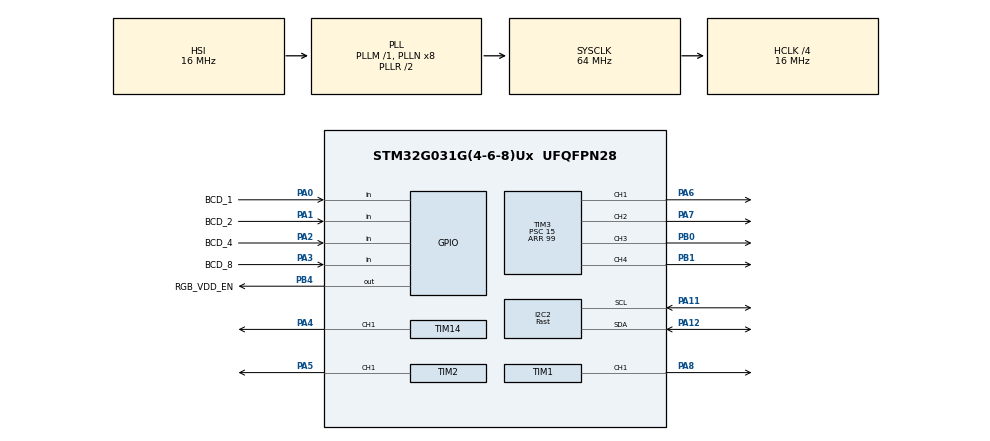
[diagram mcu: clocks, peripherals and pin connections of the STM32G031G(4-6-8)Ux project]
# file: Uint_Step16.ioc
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I2C2.I2C_Speed_Mode=I2C_Fast
I2C2.OwnAddress=0x33<<1
I2C2.Timing=0x00300617
IWDG.Prescaler=IWDG_PRESCALER_16
Mcu.Family=STM32G0
Mcu.Name=STM32G031G(4-6-8)Ux
Mcu.Package=UFQFPN28
NVIC.I2C2_IRQn=true\:0\:0\:false\:false\:true\:true\:true\:true
PA0.GPIO_Label=BCD_1
PA0.GPIO_PuPd=GPIO_PULLUP
PA0.Signal=GPIO_Input
PA1.GPIO_Label=BCD_2
PA1.GPIO_PuPd=GPIO_PULLUP
PA1.Signal=GPIO_Input
PA11\ [PA9].GPIO_Pu=GPIO_PULLUP
PA11\ [PA9].Mode=I2C
PA11\ [PA9].PinState=GPIO_PIN_SET
PA11\ [PA9].Signal=I2C2_SCL
PA12\ [PA10].GPIO_Pu=GPIO_PULLUP
PA12\ [PA10].Mode=I2C
PA12\ [PA10].PinState=GPIO_PIN_SET
PA12\ [PA10].Signal=I2C2_SDA
PA2.GPIO_Label=BCD_4
PA2.GPIO_PuPd=GPIO_PULLUP
PA2.Signal=GPIO_Input
PA3.GPIO_Label=BCD_8
PA3.GPIO_PuPd=GPIO_PULLUP
PA3.Signal=GPIO_Input
PA4.Signal=S_TIM14_CH1
PA5.Signal=S_TIM2_CH1_ETR
PA6.Signal=S_TIM3_CH1
PA7.Signal=S_TIM3_CH2
PA8.Signal=S_TIM1_CH1
PB0.Signal=S_TIM3_CH3
PB1.Signal=S_TIM3_CH4
PB4.GPIO_Label=RGB_VDD_EN
PB4.GPIO_ModeDefaultOutputPP=GPIO_MODE_OUTPUT_PP
PB4.GPIO_PuPd=GPIO_PULLUP
PB4.GPIO_Speed=GPIO_SPEED_FREQ_HIGH
PB4.PinState=GPIO_PIN_SET
PB4.Signal=GPIO_Output
ProjectManager.HeapSize=0x200
ProjectManager.StackSize=0x400
ProjectManager.TargetToolchain=STM32CubeIDE
RCC.ADCFreq_Value=64000000
RCC.AHBCLKDivider=RCC_SYSCLK_DIV4
RCC.AHBFreq_Value=16000000
RCC.CortexFreq_Value=16000000
RCC.EXTERNAL_CLOCK_VALUE=12288000
RCC.HCLKFreq_Value=16000000
RCC.HSE_VALUE=8000000
RCC.HSI_VALUE=16000000
RCC.LSE_VALUE=32768
RCC.PLLQ=RCC_PLLQ_DIV4
RCC.SYSCLKFreq_VALUE=64000000
RCC.SYSCLKSource=RCC_SYSCLKSOURCE_PLLCLK
RCC.VCOOutputFreq_Value=128000000
SH.S_TIM14_CH1.0=TIM14_CH1,PWM Generation1 CH1
SH.S_TIM1_CH1.0=TIM1_CH1,PWM Generation1 CH1
SH.S_TIM2_CH1_ETR.0=TIM2_CH1,PWM Generation1 CH1
SH.S_TIM3_CH1.0=TIM3_CH1,PWM Generation1 CH1
SH.S_TIM3_CH2.0=TIM3_CH2,PWM Generation2 CH2
SH.S_TIM3_CH3.0=TIM3_CH3,PWM Generation3 CH3
SH.S_TIM3_CH4.0=TIM3_CH4,PWM Generation4 CH4
TIM1.Channel-PWM\ Generation1\ CH1=TIM_CHANNEL_1
TIM1.OCPolarity_1=TIM_OCPOLARITY_LOW
TIM1.Period=99
TIM1.Prescaler=15
TIM14.Channel=TIM_CHANNEL_1
TIM14.OCPolarity_1=TIM_OCPOLARITY_LOW
TIM14.Period=99
TIM14.Prescaler=15
TIM2.Channel-PWM\ Generation1\ CH1=TIM_CHANNEL_1
TIM2.OCPolarity_1=TIM_OCPOLARITY_LOW
TIM2.Period=99
TIM2.Prescaler=15
TIM3.Channel-PWM\ Generation1\ CH1=TIM_CHANNEL_1
TIM3.Channel-PWM\ Generation2\ CH2=TIM_CHANNEL_2
TIM3.Channel-PWM\ Generation3\ CH3=TIM_CHANNEL_3
TIM3.Channel-PWM\ Generation4\ CH4=TIM_CHANNEL_4
TIM3.OCPolarity_1=TIM_OCPOLARITY_LOW
TIM3.OCPolarity_2=TIM_OCPOLARITY_LOW
TIM3.OCPolarity_3=TIM_OCPOLARITY_LOW
TIM3.OCPolarity_4=TIM_OCPOLARITY_LOW
TIM3.Period=99
TIM3.Prescaler=15
VP_IWDG_VS_IWDG.Mode=IWDG_Activate
VP_TIM14_VS_ClockSourceINT.Mode=Enable_Timer
VP_TIM1_VS_ClockSourceINT.Mode=Internal
VP_TIM2_VS_ClockSourceINT.Mode=Internal
VP_TIM3_VS_ClockSourceINT.Mode=Internal
board=custom

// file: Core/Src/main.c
/* USER CODE BEGIN Header */
/**
 ******************************************************************************
 * @file           : main.c
 * @brief          : Main program body
 ******************************************************************************
 * @attention
 *
 * Copyright (c) 2024 STMicroelectronics.
 * All rights reserved.
 *
 * This software is licensed under terms that can be found in the LICENSE file
 * in the root directory of this software component.
 * If no LICENSE file comes with this software, it is provided AS-IS.
 *
 ******************************************************************************
 */
/* USER CODE END Header */
#include "main.h"
#include "i2c.h"
#include "iwdg.h"
#include "tim.h"
#include "gpio.h"

/* USER CODE BEGIN Includes */
#include "string.h"
#include "HexStep.h"
#include "i2c_ex.h"
#include "myflash.h"
#include "rgb.h"
/* USER CODE END Includes */

/* USER CODE BEGIN PTD */
#define FIRMWARE_VERSION       (0x01)
#define I2C1_ADDR_BASE         (0x48)
#define APPLICATION_ADDRESS    (0x08001800)  // APP的起始地址
#define RGB_BRIGHTNESS_MAX     (0x64)
#define RGB_BRIGHTNESS_DEFAULT (0x32)
#define STEP16_LED_STATUS_BASE (0xFE)
#define STEP16_LED_LIGHT_BASE  (0x32)
#define STEP16_SWITCH_BASE     (0x01)
#define RGB_STATUS_BASE        (0x01)
#define RGB_BRINHTNESS_MAX     (0x64)
#define RGB_BRIGHTNESS_BASE    (0x32)
#define STEP_SENSITIVITY_BASE  (0x64)

#define STEP16_VALUE_REG_ADDR      (0x00)
#define STEP16_LED_CONFIG_REG_ADDR (0x10)
#define STEP16_LED_LIGHT_REG_ADDR  (0x20)
#define STEP16_SWITCH_REG_ADDR     (0x30)
#define RGB_CONFIGURATON_REG_ADDR  (0x40)
#define RGB_BRIGHTNESS_REG_ADDR    (0x41)
#define RGB_VALUE_REG_ADDR         (0x50)
#define FLASH_WRITE_BACK           (0xF0)
#define IAP_UPDATE_REG_ADDR        (0xFD)
#define FIRMWARE_VERSION_REG_ADDR  (0xFE)
#define I2C_ADDRESS_REG_ADDR       (0xFF)

__IO uint8_t step16_value_reg      = 0;
__IO uint8_t step16_led_config_reg = 0;
__IO uint8_t step16_led_light_reg  = 0;
__IO uint8_t step16_switch_reg     = 0;
__IO uint8_t rgb_status_reg        = 0;
__IO uint8_t rgb_brightness_reg    = 100;
__IO uint8_t rgb_value_reg[3]      = {0};
__IO uint8_t firmware_version_reg  = FIRMWARE_VERSION;
__IO uint8_t i2c_addr_reg          = I2C1_ADDR_BASE;

/* USER CODE END PTD */

/* USER CODE BEGIN PD */
__IO uint32_t i2c_stop_timeout_delay = 0;
__IO uint32_t rgb_turn_off_timeout   = 0;
__IO uint8_t rgb_value_update        = 0;
__IO uint32_t step_led_timeout_delay = 0;
/* USER CODE END PD */

void SystemClock_Config(void);

/* USER CODE BEGIN 0 */
void iap_set()
{
    uint8_t i;
    uint32_t *pVecTab = (uint32_t *)(0x20000000);
    for (i = 0; i < 48; i++) {
        *(pVecTab++) = *(__IO uint32_t *)(APPLICATION_ADDRESS + (i << 2));
    }
    __HAL_RCC_SYSCFG_CLK_ENABLE();
    __HAL_SYSCFG_REMAPMEMORY_SRAM();
}

void step16_init(void)
{
    bool need_write_step16 = false;
    bool need_write_rgb    = false;

    // 读取 step16_led_config_reg
    uint8_t led_status = get_step16_led_status();
    if (led_status == 0xFF) {
        need_write_step16     = true;
        step16_led_config_reg = STEP16_LED_STATUS_BASE;
    } else {
        step16_led_config_reg = led_status;
    }

    // 读取 step16_led_light_reg
    uint8_t led_light = get_step16_led_light();
    if (led_light == 0xFF) {
        need_write_step16    = true;
        step16_led_light_reg = STEP16_LED_LIGHT_BASE;
    } else {
        step16_led_light_reg = led_light;
    }

    // 读取 step16_switch_reg
    uint8_t step_switch = get_step16_switch();
    if (step_switch == 0xFF) {
        need_write_step16 = true;
        step16_switch_reg = STEP16_SWITCH_BASE;
    } else {
        step16_switch_reg = step_switch;
    }

    // 读取 rgb_status_reg
    uint8_t rgb_status = get_rgb_status();
    if (rgb_status == 0xFF) {
        need_write_rgb = true;
        rgb_status_reg = RGB_STATUS_BASE;
    } else {
        rgb_status_reg = rgb_status;
    }

    // 读取 rgb_brightness_reg
    uint8_t rgb_brightness = get_rgb_brightness();
    if (rgb_brightness == 0xFF) {
        need_write_rgb     = true;
        rgb_brightness_reg = RGB_BRIGHTNESS_BASE;
    } else {
        rgb_brightness_reg = rgb_brightness;
    }

    // 只有在必要时才写入 Flash，减少擦写次数
    if (need_write_step16) {
        write_step16_flash(step16_led_config_reg, step16_led_light_reg, step16_switch_reg);
    }
    if (need_write_rgb) {
        write_rgb_flash(rgb_status_reg, rgb_brightness_reg);
    }

    // 读取 i2c_addr_reg
    uint8_t i2c_addr = get_i2c_addr();
    if (i2c_addr == 0xFF) {
        i2c_addr_reg = I2C1_ADDR_BASE;
        set_i2c_addr(I2C1_ADDR_BASE);
    } else {
        i2c_addr_reg = i2c_addr;
    }

    step_led_timeout_delay = step16_led_config_reg * 1000;
}

void Slave_Complete_Callback(uint8_t *rx_data, uint16_t len)
{
    uint8_t rx_buf[16];
    uint8_t tx_buf[32];
    uint8_t rx_mark[16] = {0};
    if (len > 1) {
        if (rx_data[0] == STEP16_LED_CONFIG_REG_ADDR && len == 2) {
            if (step16_led_config_reg != rx_data[1]) {
                step16_led_config_reg  = rx_data[1];
                step_led_timeout_delay = step16_led_config_reg * 1000;
            }
        } else if (rx_data[0] == STEP16_LED_LIGHT_REG_ADDR && len == 2) {
            if (rx_data[1] >= 0 && rx_data[1] <= 100) {
                if (step16_led_light_reg != rx_data[1]) {
                    step16_led_light_reg = rx_data[1];
                }
            }
        } else if (rx_data[0] == STEP16_SWITCH_REG_ADDR && len == 2) {
            if (rx_data[1] == 0 || rx_data[1] == 1) {
                if (step16_switch_reg != rx_data[1]) {
                    step16_switch_reg = rx_data[1];
                }
            }
        } else if (rx_data[0] == I2C_ADDRESS_REG_ADDR && len == 2) {
            if (rx_data[1] >= 0x08 && rx_data[1] <= 0x77) {
                if (i2c_addr_reg != rx_data[1]) {
                    i2c_addr_reg = rx_data[1];
                    set_i2c_addr(rx_data[1]);
                    user_i2c_init();
                }
            }
        } else if (rx_data[0] >= RGB_CONFIGURATON_REG_ADDR && rx_data[0] <= RGB_BRIGHTNESS_REG_ADDR && len <= 3) {
            uint8_t offset = rx_data[0] - RGB_CONFIGURATON_REG_ADDR;
            uint8_t limit  = len - 1;
            for (uint8_t i = 0; i < limit; i++) {
                uint8_t index  = offset + i;
                rx_buf[index]  = rx_data[i + 1];
                rx_mark[index] = 1;
            }
            if (rx_mark[0] && rgb_status_reg != rx_buf[0]) {
                rgb_status_reg = rx_buf[0];
            }
            if (rx_mark[1] && rgb_brightness_reg != rx_buf[1] && rx_buf[1] <= 100) {
                rgb_brightness_reg = rx_buf[1];
            }

        } else if (rx_data[0] >= RGB_VALUE_REG_ADDR && rx_data[0] <= 0x52 && len <= 4) {
            uint8_t offset = rx_data[0] - RGB_VALUE_REG_ADDR;
            uint8_t limit  = len - 1;
            for (uint8_t i = 0; i < limit; i++) {
                uint8_t index  = offset + i;
                rx_buf[index]  = rx_data[i + 1];
                rx_mark[index] = 1;
            }
            for (uint8_t i = 0; i < 3; i++) {
                if (rx_mark[i] && rgb_value_reg[i] != rx_buf[i]) {
                    rgb_value_reg[i] = rx_buf[i];
                    rgb_value_update = 1;
                }
            }
        } else if (rx_data[0] == IAP_UPDATE_REG_ADDR && len == 2) {
            if (rx_data[1] > 0) {
                uint8_t pwmValue = 100;
                LL_TIM_OC_SetCompareCH1(TIM14, pwmValue);
                LL_TIM_OC_SetCompareCH1(TIM2, pwmValue);
                LL_TIM_OC_SetCompareCH1(TIM3, pwmValue);
                LL_TIM_OC_SetCompareCH2(TIM3, pwmValue);
                LL_TIM_OC_SetCompareCH3(TIM3, pwmValue);
                LL_TIM_OC_SetCompareCH4(TIM3, pwmValue);
                LL_TIM_OC_SetCompareCH1(TIM1, pwmValue);
                NVIC_SystemReset();  // 复位单片机触发升级
            }
        } else if (rx_data[0] == FLASH_WRITE_BACK && len == 2) {
            if (rx_data[1] == 1) {
                if (step16_led_config_reg != get_step16_led_status() ||
                    step16_led_light_reg != get_step16_led_light() || step16_switch_reg != get_step16_switch()) {
                    write_step16_flash(step16_led_config_reg, step16_led_light_reg, step16_switch_reg);
                }
            } else if (rx_data[1] == 2) {
                if (rgb_status_reg != get_rgb_status() || rgb_brightness_reg != get_rgb_brightness()) {
                    write_rgb_flash(rgb_status_reg, rgb_brightness_reg);
                }
            }
        }
    }
    if (len == 1) {
        if (rx_data[0] == STEP16_VALUE_REG_ADDR) {
            tx_buf[0] = step16_value_reg;
            i2c2_set_send_data(tx_buf, 1);
        } else if (rx_data[0] == STEP16_LED_CONFIG_REG_ADDR) {
            tx_buf[0] = step16_led_config_reg;
            i2c2_set_send_data(tx_buf, 1);
        } else if (rx_data[0] == STEP16_LED_LIGHT_REG_ADDR) {
            tx_buf[0] = step16_led_light_reg;
            i2c2_set_send_data(tx_buf, 1);
        } else if (rx_data[0] == STEP16_SWITCH_REG_ADDR) {
            tx_buf[0] = step16_switch_reg;
            i2c2_set_send_data(tx_buf, 1);
        } else if (rx_data[0] == RGB_CONFIGURATON_REG_ADDR) {
            tx_buf[0] = rgb_status_reg;
            tx_buf[1] = rgb_brightness_reg;
            i2c2_set_send_data(tx_buf, 2);
        } else if (rx_data[0] == RGB_BRIGHTNESS_REG_ADDR) {
            tx_buf[0] = rgb_brightness_reg;
            i2c2_set_send_data(tx_buf, 1);
        } else if (rx_data[0] >= RGB_VALUE_REG_ADDR && rx_data[0] <= 0x52) {
            uint8_t *src_ptr = (uint8_t *)(rgb_value_reg + rx_data[0] - 0x50);
            uint8_t data_len = sizeof(rgb_value_reg) + 0x50 - rx_data[0];
            memcpy(tx_buf, src_ptr, data_len);
            i2c2_set_send_data(tx_buf, data_len);
        } else if (rx_data[0] == FIRMWARE_VERSION_REG_ADDR) {
            tx_buf[0] = firmware_version_reg;
            i2c2_set_send_data(tx_buf, 1);
        } else if (rx_data[0] == I2C_ADDRESS_REG_ADDR) {
            tx_buf[0] = i2c_addr_reg;
            i2c2_set_send_data(tx_buf, 1);
        }
    }
}

/* USER CODE END 0 */

int main(void)
{
    /* USER CODE BEGIN 1 */
    iap_set();
    /* USER CODE END 1 */

    /* MCU Configuration--------------------------------------------------------*/

    /* Reset of all peripherals, Initializes the Flash interface and the Systick. */
    HAL_Init();

    /* Configure the system clock */
    SystemClock_Config();

    /* Initialize all configured peripherals */
    MX_GPIO_Init();
    MX_I2C2_Init();
    MX_TIM1_Init();
    MX_TIM2_Init();
    MX_TIM3_Init();
    MX_TIM14_Init();
    MX_IWDG_Init();
    /* USER CODE BEGIN 2 */
    LL_TIM_EnableAllOutputs(TIM1);
    LL_TIM_EnableCounter(TIM1);
    LL_TIM_CC_EnableChannel(TIM1, LL_TIM_CHANNEL_CH1);  // 启动通道输出
    LL_TIM_EnableCounter(TIM2);
    LL_TIM_CC_EnableChannel(TIM2, LL_TIM_CHANNEL_CH1);  // 启动通道输出
    LL_TIM_EnableCounter(TIM3);
    LL_TIM_CC_EnableChannel(TIM3, LL_TIM_CHANNEL_CH1);  // 启动通道输出
    LL_TIM_CC_EnableChannel(TIM3, LL_TIM_CHANNEL_CH2);  // 启动通道输出
    LL_TIM_CC_EnableChannel(TIM3, LL_TIM_CHANNEL_CH3);  // 启动通道输出
    LL_TIM_CC_EnableChannel(TIM3, LL_TIM_CHANNEL_CH4);  // 启动通道输出
    LL_TIM_EnableCounter(TIM14);
    LL_TIM_CC_EnableChannel(TIM14, LL_TIM_CHANNEL_CH1);  // 启动通道输出
    filter_init();
    update_step16_value();
    step16_init();
    rgb_init();
    user_i2c_init();
    i2c2_it_enable();
//    rgb_test();
    /* USER CODE END 2 */

    /* Infinite loop */
    /* USER CODE BEGIN WHILE */
    while (1) {
        i2c_timeout_counter = 0;
        if (i2c_stop_timeout_flag) {
            if (i2c_stop_timeout_delay < HAL_GetTick()) {
                i2c_stop_timeout_counter++;
                i2c_stop_timeout_delay = HAL_GetTick() + 10;
            }
        }
        if (i2c_stop_timeout_counter > 50) {
            LL_I2C_DeInit(I2C2);
            LL_I2C_DisableAutoEndMode(I2C2);
            LL_I2C_Disable(I2C2);
            LL_I2C_DisableIT_ADDR(I2C2);
            user_i2c_init();
            i2c2_it_enable();
            HAL_Delay(500);
        }
        sample_data();
        update_step16_value();
        displayHex();
        update_rgb_status();
        /* USER CODE END WHILE */

        /* USER CODE BEGIN 3 */
        LL_IWDG_ReloadCounter(IWDG);
    }
    /* USER CODE END 3 */
}

void SystemClock_Config(void)
{
    RCC_OscInitTypeDef RCC_OscInitStruct = {0};
    RCC_ClkInitTypeDef RCC_ClkInitStruct = {0};

    /** Configure the main internal regulator output voltage
     */
    HAL_PWREx_ControlVoltageScaling(PWR_REGULATOR_VOLTAGE_SCALE1);

    /** Initializes the RCC Oscillators according to the specified parameters
     * in the RCC_OscInitTypeDef structure.
     */
    RCC_OscInitStruct.OscillatorType      = RCC_OSCILLATORTYPE_HSI | RCC_OSCILLATORTYPE_LSI;
    RCC_OscInitStruct.HSIState            = RCC_HSI_ON;
    RCC_OscInitStruct.HSIDiv              = RCC_HSI_DIV1;
    RCC_OscInitStruct.HSICalibrationValue = RCC_HSICALIBRATION_DEFAULT;
    RCC_OscInitStruct.LSIState            = RCC_LSI_ON;
    RCC_OscInitStruct.PLL.PLLState        = RCC_PLL_ON;
    RCC_OscInitStruct.PLL.PLLSource       = RCC_PLLSOURCE_HSI;
    RCC_OscInitStruct.PLL.PLLM            = RCC_PLLM_DIV1;
    RCC_OscInitStruct.PLL.PLLN            = 8;
    RCC_OscInitStruct.PLL.PLLP            = RCC_PLLP_DIV2;
    RCC_OscInitStruct.PLL.PLLQ            = RCC_PLLQ_DIV4;
    RCC_OscInitStruct.PLL.PLLR            = RCC_PLLR_DIV2;
    if (HAL_RCC_OscConfig(&RCC_OscInitStruct) != HAL_OK) {
        Error_Handler();
    }

    /** Initializes the CPU, AHB and APB buses clocks
     */
    RCC_ClkInitStruct.ClockType      = RCC_CLOCKTYPE_HCLK | RCC_CLOCKTYPE_SYSCLK | RCC_CLOCKTYPE_PCLK1;
    RCC_ClkInitStruct.SYSCLKSource   = RCC_SYSCLKSOURCE_PLLCLK;
    RCC_ClkInitStruct.AHBCLKDivider  = RCC_SYSCLK_DIV4;
    RCC_ClkInitStruct.APB1CLKDivider = RCC_HCLK_DIV1;

    if (HAL_RCC_ClockConfig(&RCC_ClkInitStruct, FLASH_LATENCY_0) != HAL_OK) {
        Error_Handler();
    }
}

void Error_Handler(void)
{
    __disable_irq();
    while (1) {
    }
}
